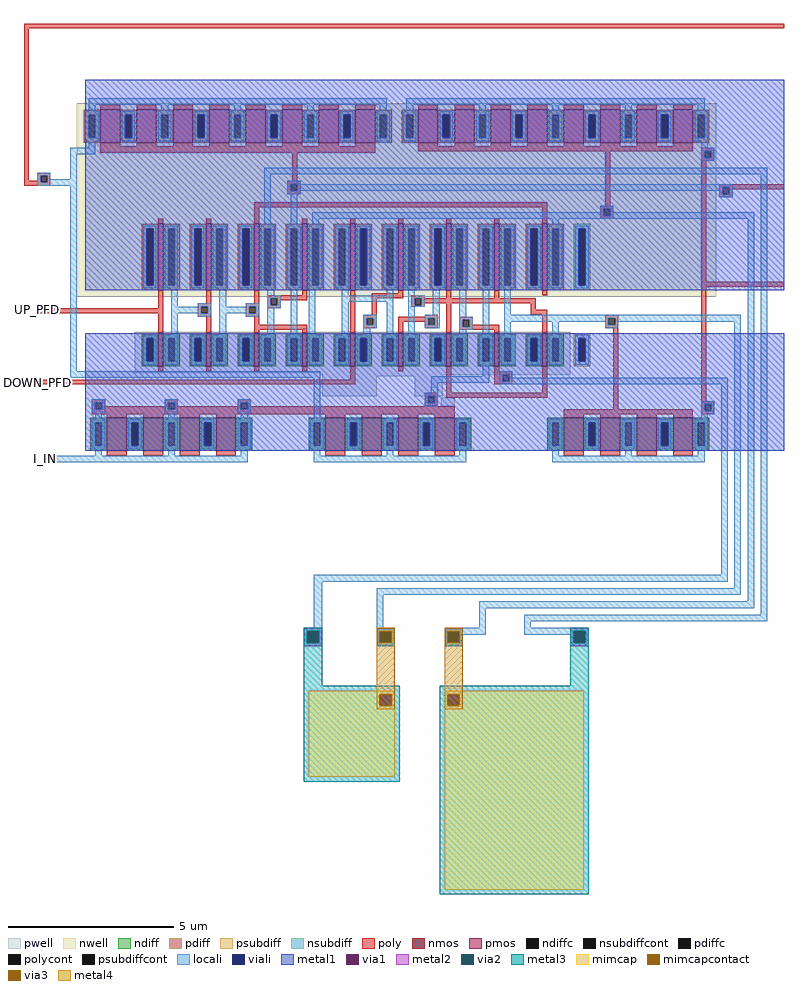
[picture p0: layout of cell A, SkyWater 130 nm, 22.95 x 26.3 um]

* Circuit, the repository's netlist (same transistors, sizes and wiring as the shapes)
* NGSPICE file created from A.ext - technology: sky130A

**.subckt A
X0 VDDA a_380_n8130# x VDDA sky130_fd_pr__pfet_01v8 ad=0.25 pd=1.5 as=0.5 ps=3 w=1 l=0.6
X1 VDDA a_380_n8130# x VDDA sky130_fd_pr__pfet_01v8 ad=0.25 pd=1.5 as=0.25 ps=1.5 w=1 l=0.6
X2 VDDA a_1630_n9420# a_2200_n8070# VDDA sky130_fd_pr__pfet_01v8 ad=0.25 pd=1.5 as=0.25 ps=1.5 w=1 l=0.6
X3 VDDA a_1630_n9420# a_2200_n8070# VDDA sky130_fd_pr__pfet_01v8 ad=0.25 pd=1.5 as=0.25 ps=1.5 w=1 l=0.6
X4 a_1630_n9420# a_1050_n9420# a_380_n8130# GNDA sky130_fd_pr__nfet_01v8 ad=0.5 pd=3 as=0.5 ps=3 w=1 l=0.15
X5 a_1050_n9420# a_760_n9420# GNDA GNDA sky130_fd_pr__nfet_01v8 ad=0.5 pd=3 as=0.5 ps=3 w=1 l=0.15
X6 a_1340_n9420# a_1050_n9420# GNDA GNDA sky130_fd_pr__nfet_01v8 ad=0.5 pd=3 as=0.5 ps=3 w=1 l=0.15
X7 a_1630_n9420# a_1340_n9420# a_380_n8130# VDDA sky130_fd_pr__pfet_01v8 ad=1 pd=5 as=1 ps=5 w=2 l=0.15
X8 GNDA I_IN x GNDA sky130_fd_pr__nfet_01v8 ad=0.25 pd=1.5 as=0.5 ps=3 w=1 l=0.6
X9 x a_380_n8130# VDDA VDDA sky130_fd_pr__pfet_01v8 ad=0.25 pd=1.5 as=0.25 ps=1.5 w=1 l=0.6
X10 a_1340_n9420# a_1050_n9420# VDDA VDDA sky130_fd_pr__pfet_01v8 ad=1 pd=5 as=1 ps=5 w=2 l=0.15
X11 a_2200_n8070# a_1630_n9420# VDDA VDDA sky130_fd_pr__pfet_01v8 ad=0.25 pd=1.5 as=0.25 ps=1.5 w=1 l=0.6
X12 a_1050_n9420# a_760_n9420# VDDA VDDA sky130_fd_pr__pfet_01v8 ad=1 pd=5 as=1 ps=5 w=2 l=0.15
X13 a_760_n9420# UP_PFD GNDA GNDA sky130_fd_pr__nfet_01v8 ad=0.5 pd=3 as=0.5 ps=3 w=1 l=0.15
X14 I_IN I_IN GNDA GNDA sky130_fd_pr__nfet_01v8 ad=0.25 pd=1.5 as=0.25 ps=1.5 w=1 l=0.6
X15 a_2790_n9420# a_2210_n9420# GNDA GNDA sky130_fd_pr__nfet_01v8 ad=0.5 pd=3 as=0.5 ps=3 w=1 l=0.15
X16 x I_IN GNDA GNDA sky130_fd_pr__nfet_01v8 ad=0.5 pd=3 as=0.25 ps=1.5 w=1 l=0.6
X17 a_2200_n8070# a_2790_n9420# GNDA GNDA sky130_fd_pr__nfet_01v8 ad=0.25 pd=1.5 as=0.25 ps=1.5 w=1 l=0.6
X18 a_2200_n8070# a_1630_n9420# VDDA VDDA sky130_fd_pr__pfet_01v8 ad=0.5 pd=3 as=0.25 ps=1.5 w=1 l=0.6
X19 a_760_n9420# UP_PFD VDDA VDDA sky130_fd_pr__pfet_01v8 ad=1 pd=5 as=1 ps=5 w=2 l=0.15
X20 a_1630_n9420# a_1050_n9420# VDDA VDDA sky130_fd_pr__pfet_01v8 ad=1 pd=5 as=1 ps=5 w=2 l=0.15
X21 a_2790_n9420# a_2500_n9420# I_IN GNDA sky130_fd_pr__nfet_01v8 ad=0.5 pd=3 as=0.5 ps=3 w=1 l=0.15
X22 x I_IN GNDA GNDA sky130_fd_pr__nfet_01v8 ad=0.25 pd=1.5 as=0.25 ps=1.5 w=1 l=0.6
X23 VDDA a_380_n8130# x VDDA sky130_fd_pr__pfet_01v8 ad=0.25 pd=1.5 as=0.25 ps=1.5 w=1 l=0.6
X24 VDDA a_380_n8130# x VDDA sky130_fd_pr__pfet_01v8 ad=0.25 pd=1.5 as=0.25 ps=1.5 w=1 l=0.6
X25 VDDA a_1630_n9420# a_2200_n8070# VDDA sky130_fd_pr__pfet_01v8 ad=0.25 pd=1.5 as=0.25 ps=1.5 w=1 l=0.6
X26 a_2500_n9420# a_2210_n9420# GNDA GNDA sky130_fd_pr__nfet_01v8 ad=0.5 pd=3 as=0.5 ps=3 w=1 l=0.15
X27 a_2790_n9420# a_2500_n9420# sky130_fd_pr__cap_mim_m3_1 l=2.6 w=2.6
X28 a_2210_n9420# VDDA a_1790_n9420# GNDA sky130_fd_pr__nfet_01v8 ad=0.5 pd=3 as=0.5 ps=3 w=1 l=0.15
X29 a_2790_n9420# a_2210_n9420# I_IN VDDA sky130_fd_pr__pfet_01v8 ad=1 pd=5 as=1 ps=5 w=2 l=0.15
X30 a_2210_n9420# GNDA a_1790_n9420# VDDA sky130_fd_pr__pfet_01v8 ad=1 pd=5 as=1 ps=5 w=2 l=0.15
X31 a_2500_n9420# a_2210_n9420# VDDA VDDA sky130_fd_pr__pfet_01v8 ad=1 pd=5 as=1 ps=5 w=2 l=0.15
X32 a_1630_n9420# a_1340_n9420# sky130_fd_pr__cap_mim_m3_1 l=6 w=4.2
X33 GNDA I_IN I_IN GNDA sky130_fd_pr__nfet_01v8 ad=0.25 pd=1.5 as=0.25 ps=1.5 w=1 l=0.6
X34 GNDA a_2790_n9420# a_2200_n8070# GNDA sky130_fd_pr__nfet_01v8 ad=0.25 pd=1.5 as=0.5 ps=3 w=1 l=0.6
X35 GNDA a_2790_n9420# a_2200_n8070# GNDA sky130_fd_pr__nfet_01v8 ad=0.25 pd=1.5 as=0.25 ps=1.5 w=1 l=0.6
X36 x a_380_n8130# VDDA VDDA sky130_fd_pr__pfet_01v8 ad=0.25 pd=1.5 as=0.25 ps=1.5 w=1 l=0.6
X37 GNDA DOWN_PFD a_1790_n9420# GNDA sky130_fd_pr__nfet_01v8 ad=0.5 pd=3 as=0.5 ps=3 w=1 l=0.15
X38 GNDA I_IN x GNDA sky130_fd_pr__nfet_01v8 ad=0.25 pd=1.5 as=0.25 ps=1.5 w=1 l=0.6
X39 a_2200_n8070# a_1630_n9420# VDDA VDDA sky130_fd_pr__pfet_01v8 ad=0.25 pd=1.5 as=0.25 ps=1.5 w=1 l=0.6
X40 VDDA DOWN_PFD a_1790_n9420# VDDA sky130_fd_pr__pfet_01v8 ad=1 pd=5 as=1 ps=5 w=2 l=0.15
X41 x a_380_n8130# VDDA VDDA sky130_fd_pr__pfet_01v8 ad=0.25 pd=1.5 as=0.25 ps=1.5 w=1 l=0.6
X42 I_IN I_IN GNDA GNDA sky130_fd_pr__nfet_01v8 ad=0.5 pd=3 as=0.25 ps=1.5 w=1 l=0.6
X43 x a_380_n8130# VDDA VDDA sky130_fd_pr__pfet_01v8 ad=0.5 pd=3 as=0.25 ps=1.5 w=1 l=0.6
X44 VDDA a_1630_n9420# a_2200_n8070# VDDA sky130_fd_pr__pfet_01v8 ad=0.25 pd=1.5 as=0.5 ps=3 w=1 l=0.6
X45 a_2200_n8070# a_1630_n9420# VDDA VDDA sky130_fd_pr__pfet_01v8 ad=0.25 pd=1.5 as=0.25 ps=1.5 w=1 l=0.6
X46 GNDA I_IN I_IN GNDA sky130_fd_pr__nfet_01v8 ad=0.25 pd=1.5 as=0.5 ps=3 w=1 l=0.6
X47 a_2200_n8070# a_2790_n9420# GNDA GNDA sky130_fd_pr__nfet_01v8 ad=0.5 pd=3 as=0.25 ps=1.5 w=1 l=0.6
**.ends

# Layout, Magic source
magic
tech sky130A
<< nwell >>
rect 120 -4500 2050 -3915
<< pwell >>
rect 800 -4600 815 -4595
rect 295 -4730 1610 -4605
rect 860 -4735 1610 -4730
rect 860 -4740 1225 -4735
rect 860 -4800 1025 -4740
rect 1140 -4775 1225 -4740
rect 1140 -4790 1190 -4775
rect 1210 -4790 1225 -4775
rect 1140 -4800 1225 -4790
rect 1170 -4805 1210 -4800
rect 1220 -4830 1260 -4805
<< nmos >>
rect 365 -4710 380 -4610
rect 510 -4710 525 -4610
rect 655 -4710 670 -4610
rect 800 -4710 815 -4610
rect 945 -4710 960 -4610
rect 1090 -4710 1105 -4610
rect 1235 -4710 1250 -4610
rect 1380 -4710 1395 -4610
rect 1525 -4710 1540 -4610
rect 210 -4965 270 -4865
rect 320 -4965 380 -4865
rect 430 -4965 490 -4865
rect 540 -4965 600 -4865
rect 870 -4965 930 -4865
rect 980 -4965 1040 -4865
rect 1090 -4965 1150 -4865
rect 1200 -4965 1260 -4865
rect 1590 -4965 1650 -4865
rect 1700 -4965 1760 -4865
rect 1810 -4965 1870 -4865
rect 1920 -4965 1980 -4865
<< pmos >>
rect 190 -4035 250 -3935
rect 300 -4035 360 -3935
rect 410 -4035 470 -3935
rect 520 -4035 580 -3935
rect 630 -4035 690 -3935
rect 740 -4035 800 -3935
rect 850 -4035 910 -3935
rect 960 -4035 1020 -3935
rect 1150 -4035 1210 -3935
rect 1260 -4035 1320 -3935
rect 1370 -4035 1430 -3935
rect 1480 -4035 1540 -3935
rect 1590 -4035 1650 -3935
rect 1700 -4035 1760 -3935
rect 1810 -4035 1870 -3935
rect 1920 -4035 1980 -3935
rect 365 -4480 380 -4280
rect 510 -4480 525 -4280
rect 655 -4480 670 -4280
rect 800 -4480 815 -4280
rect 945 -4480 960 -4280
rect 1090 -4480 1105 -4280
rect 1235 -4480 1250 -4280
rect 1380 -4480 1395 -4280
rect 1525 -4480 1540 -4280
<< ndiff >>
rect 315 -4625 365 -4610
rect 315 -4695 330 -4625
rect 350 -4695 365 -4625
rect 315 -4710 365 -4695
rect 380 -4625 430 -4610
rect 380 -4695 395 -4625
rect 415 -4695 430 -4625
rect 380 -4710 430 -4695
rect 460 -4625 510 -4610
rect 460 -4695 475 -4625
rect 495 -4695 510 -4625
rect 460 -4710 510 -4695
rect 525 -4625 575 -4610
rect 525 -4695 540 -4625
rect 560 -4695 575 -4625
rect 525 -4710 575 -4695
rect 605 -4625 655 -4610
rect 605 -4695 620 -4625
rect 640 -4695 655 -4625
rect 605 -4710 655 -4695
rect 670 -4625 720 -4610
rect 670 -4695 685 -4625
rect 705 -4695 720 -4625
rect 670 -4710 720 -4695
rect 750 -4625 800 -4610
rect 750 -4695 765 -4625
rect 785 -4695 800 -4625
rect 750 -4710 800 -4695
rect 815 -4625 865 -4610
rect 815 -4695 830 -4625
rect 850 -4695 865 -4625
rect 815 -4710 865 -4695
rect 895 -4625 945 -4610
rect 895 -4695 910 -4625
rect 930 -4695 945 -4625
rect 895 -4710 945 -4695
rect 960 -4625 1010 -4610
rect 960 -4695 975 -4625
rect 995 -4695 1010 -4625
rect 960 -4710 1010 -4695
rect 1040 -4625 1090 -4610
rect 1040 -4695 1055 -4625
rect 1075 -4695 1090 -4625
rect 1040 -4710 1090 -4695
rect 1105 -4625 1155 -4610
rect 1105 -4695 1120 -4625
rect 1140 -4695 1155 -4625
rect 1105 -4710 1155 -4695
rect 1185 -4625 1235 -4610
rect 1185 -4695 1200 -4625
rect 1220 -4695 1235 -4625
rect 1185 -4710 1235 -4695
rect 1250 -4625 1300 -4610
rect 1250 -4695 1265 -4625
rect 1285 -4695 1300 -4625
rect 1250 -4710 1300 -4695
rect 1330 -4625 1380 -4610
rect 1330 -4695 1345 -4625
rect 1365 -4695 1380 -4625
rect 1330 -4710 1380 -4695
rect 1395 -4625 1445 -4610
rect 1395 -4695 1410 -4625
rect 1430 -4695 1445 -4625
rect 1395 -4710 1445 -4695
rect 1475 -4625 1525 -4610
rect 1475 -4695 1490 -4625
rect 1510 -4695 1525 -4625
rect 1475 -4710 1525 -4695
rect 1540 -4625 1590 -4610
rect 1540 -4695 1555 -4625
rect 1575 -4695 1590 -4625
rect 1540 -4710 1590 -4695
rect 160 -4880 210 -4865
rect 160 -4950 175 -4880
rect 195 -4950 210 -4880
rect 160 -4965 210 -4950
rect 270 -4880 320 -4865
rect 270 -4950 285 -4880
rect 305 -4950 320 -4880
rect 270 -4965 320 -4950
rect 380 -4880 430 -4865
rect 380 -4950 395 -4880
rect 415 -4950 430 -4880
rect 380 -4965 430 -4950
rect 490 -4880 540 -4865
rect 490 -4950 505 -4880
rect 525 -4950 540 -4880
rect 490 -4965 540 -4950
rect 600 -4880 650 -4865
rect 600 -4950 615 -4880
rect 635 -4950 650 -4880
rect 600 -4965 650 -4950
rect 820 -4880 870 -4865
rect 820 -4950 835 -4880
rect 855 -4950 870 -4880
rect 820 -4965 870 -4950
rect 930 -4880 980 -4865
rect 930 -4950 945 -4880
rect 965 -4950 980 -4880
rect 930 -4965 980 -4950
rect 1040 -4880 1090 -4865
rect 1040 -4950 1055 -4880
rect 1075 -4950 1090 -4880
rect 1040 -4965 1090 -4950
rect 1150 -4880 1200 -4865
rect 1150 -4950 1165 -4880
rect 1185 -4950 1200 -4880
rect 1150 -4965 1200 -4950
rect 1260 -4880 1310 -4865
rect 1260 -4950 1275 -4880
rect 1295 -4950 1310 -4880
rect 1260 -4965 1310 -4950
rect 1540 -4880 1590 -4865
rect 1540 -4950 1555 -4880
rect 1575 -4950 1590 -4880
rect 1540 -4965 1590 -4950
rect 1650 -4880 1700 -4865
rect 1650 -4950 1665 -4880
rect 1685 -4950 1700 -4880
rect 1650 -4965 1700 -4950
rect 1760 -4880 1810 -4865
rect 1760 -4950 1775 -4880
rect 1795 -4950 1810 -4880
rect 1760 -4965 1810 -4950
rect 1870 -4880 1920 -4865
rect 1870 -4950 1885 -4880
rect 1905 -4950 1920 -4880
rect 1870 -4965 1920 -4950
rect 1980 -4880 2030 -4865
rect 1980 -4950 1995 -4880
rect 2015 -4950 2030 -4880
rect 1980 -4965 2030 -4950
<< pdiff >>
rect 140 -3950 190 -3935
rect 140 -4020 155 -3950
rect 175 -4020 190 -3950
rect 140 -4035 190 -4020
rect 250 -3950 300 -3935
rect 250 -4020 265 -3950
rect 285 -4020 300 -3950
rect 250 -4035 300 -4020
rect 360 -3950 410 -3935
rect 360 -4020 375 -3950
rect 395 -4020 410 -3950
rect 360 -4035 410 -4020
rect 470 -3950 520 -3935
rect 470 -4020 485 -3950
rect 505 -4020 520 -3950
rect 470 -4035 520 -4020
rect 580 -3950 630 -3935
rect 580 -4020 595 -3950
rect 615 -4020 630 -3950
rect 580 -4035 630 -4020
rect 690 -3950 740 -3935
rect 690 -4020 705 -3950
rect 725 -4020 740 -3950
rect 690 -4035 740 -4020
rect 800 -3950 850 -3935
rect 800 -4020 815 -3950
rect 835 -4020 850 -3950
rect 800 -4035 850 -4020
rect 910 -3950 960 -3935
rect 910 -4020 925 -3950
rect 945 -4020 960 -3950
rect 910 -4035 960 -4020
rect 1020 -3950 1070 -3935
rect 1020 -4020 1035 -3950
rect 1055 -4020 1070 -3950
rect 1020 -4035 1070 -4020
rect 1100 -3950 1150 -3935
rect 1100 -4020 1115 -3950
rect 1135 -4020 1150 -3950
rect 1100 -4035 1150 -4020
rect 1210 -3950 1260 -3935
rect 1210 -4020 1225 -3950
rect 1245 -4020 1260 -3950
rect 1210 -4035 1260 -4020
rect 1320 -3950 1370 -3935
rect 1320 -4020 1335 -3950
rect 1355 -4020 1370 -3950
rect 1320 -4035 1370 -4020
rect 1430 -3950 1480 -3935
rect 1430 -4020 1445 -3950
rect 1465 -4020 1480 -3950
rect 1430 -4035 1480 -4020
rect 1540 -3950 1590 -3935
rect 1540 -4020 1555 -3950
rect 1575 -4020 1590 -3950
rect 1540 -4035 1590 -4020
rect 1650 -3950 1700 -3935
rect 1650 -4020 1665 -3950
rect 1685 -4020 1700 -3950
rect 1650 -4035 1700 -4020
rect 1760 -3950 1810 -3935
rect 1760 -4020 1775 -3950
rect 1795 -4020 1810 -3950
rect 1760 -4035 1810 -4020
rect 1870 -3950 1920 -3935
rect 1870 -4020 1885 -3950
rect 1905 -4020 1920 -3950
rect 1870 -4035 1920 -4020
rect 1980 -3950 2030 -3935
rect 1980 -4020 1995 -3950
rect 2015 -4020 2030 -3950
rect 1980 -4035 2030 -4020
rect 315 -4295 365 -4280
rect 315 -4465 330 -4295
rect 350 -4465 365 -4295
rect 315 -4480 365 -4465
rect 380 -4295 430 -4280
rect 380 -4465 395 -4295
rect 415 -4465 430 -4295
rect 380 -4480 430 -4465
rect 460 -4295 510 -4280
rect 460 -4465 475 -4295
rect 495 -4465 510 -4295
rect 460 -4480 510 -4465
rect 525 -4295 575 -4280
rect 525 -4465 540 -4295
rect 560 -4465 575 -4295
rect 525 -4480 575 -4465
rect 605 -4295 655 -4280
rect 605 -4465 620 -4295
rect 640 -4465 655 -4295
rect 605 -4480 655 -4465
rect 670 -4295 720 -4280
rect 670 -4465 685 -4295
rect 705 -4465 720 -4295
rect 670 -4480 720 -4465
rect 750 -4295 800 -4280
rect 750 -4465 765 -4295
rect 785 -4465 800 -4295
rect 750 -4480 800 -4465
rect 815 -4295 865 -4280
rect 815 -4465 830 -4295
rect 850 -4465 865 -4295
rect 815 -4480 865 -4465
rect 895 -4295 945 -4280
rect 895 -4465 910 -4295
rect 930 -4465 945 -4295
rect 895 -4480 945 -4465
rect 960 -4295 1010 -4280
rect 960 -4465 975 -4295
rect 995 -4465 1010 -4295
rect 960 -4480 1010 -4465
rect 1040 -4295 1090 -4280
rect 1040 -4465 1055 -4295
rect 1075 -4465 1090 -4295
rect 1040 -4480 1090 -4465
rect 1105 -4295 1155 -4280
rect 1105 -4465 1120 -4295
rect 1140 -4465 1155 -4295
rect 1105 -4480 1155 -4465
rect 1185 -4295 1235 -4280
rect 1185 -4465 1200 -4295
rect 1220 -4465 1235 -4295
rect 1185 -4480 1235 -4465
rect 1250 -4295 1300 -4280
rect 1250 -4465 1265 -4295
rect 1285 -4465 1300 -4295
rect 1250 -4480 1300 -4465
rect 1330 -4295 1380 -4280
rect 1330 -4465 1345 -4295
rect 1365 -4465 1380 -4295
rect 1330 -4480 1380 -4465
rect 1395 -4295 1445 -4280
rect 1395 -4465 1410 -4295
rect 1430 -4465 1445 -4295
rect 1395 -4480 1445 -4465
rect 1475 -4295 1525 -4280
rect 1475 -4465 1490 -4295
rect 1510 -4465 1525 -4295
rect 1475 -4480 1525 -4465
rect 1540 -4295 1590 -4280
rect 1540 -4465 1555 -4295
rect 1575 -4465 1590 -4295
rect 1540 -4480 1590 -4465
<< ndiffc >>
rect 330 -4695 350 -4625
rect 395 -4695 415 -4625
rect 475 -4695 495 -4625
rect 540 -4695 560 -4625
rect 620 -4695 640 -4625
rect 685 -4695 705 -4625
rect 765 -4695 785 -4625
rect 830 -4695 850 -4625
rect 910 -4695 930 -4625
rect 975 -4695 995 -4625
rect 1055 -4695 1075 -4625
rect 1120 -4695 1140 -4625
rect 1200 -4695 1220 -4625
rect 1265 -4695 1285 -4625
rect 1345 -4695 1365 -4625
rect 1410 -4695 1430 -4625
rect 1490 -4695 1510 -4625
rect 1555 -4695 1575 -4625
rect 175 -4950 195 -4880
rect 285 -4950 305 -4880
rect 395 -4950 415 -4880
rect 505 -4950 525 -4880
rect 615 -4950 635 -4880
rect 835 -4950 855 -4880
rect 945 -4950 965 -4880
rect 1055 -4950 1075 -4880
rect 1165 -4950 1185 -4880
rect 1275 -4950 1295 -4880
rect 1555 -4950 1575 -4880
rect 1665 -4950 1685 -4880
rect 1775 -4950 1795 -4880
rect 1885 -4950 1905 -4880
rect 1995 -4950 2015 -4880
<< pdiffc >>
rect 155 -4020 175 -3950
rect 265 -4020 285 -3950
rect 375 -4020 395 -3950
rect 485 -4020 505 -3950
rect 595 -4020 615 -3950
rect 705 -4020 725 -3950
rect 815 -4020 835 -3950
rect 925 -4020 945 -3950
rect 1035 -4020 1055 -3950
rect 1115 -4020 1135 -3950
rect 1225 -4020 1245 -3950
rect 1335 -4020 1355 -3950
rect 1445 -4020 1465 -3950
rect 1555 -4020 1575 -3950
rect 1665 -4020 1685 -3950
rect 1775 -4020 1795 -3950
rect 1885 -4020 1905 -3950
rect 1995 -4020 2015 -3950
rect 330 -4465 350 -4295
rect 395 -4465 415 -4295
rect 475 -4465 495 -4295
rect 540 -4465 560 -4295
rect 620 -4465 640 -4295
rect 685 -4465 705 -4295
rect 765 -4465 785 -4295
rect 830 -4465 850 -4295
rect 910 -4465 930 -4295
rect 975 -4465 995 -4295
rect 1055 -4465 1075 -4295
rect 1120 -4465 1140 -4295
rect 1200 -4465 1220 -4295
rect 1265 -4465 1285 -4295
rect 1345 -4465 1365 -4295
rect 1410 -4465 1430 -4295
rect 1490 -4465 1510 -4295
rect 1555 -4465 1575 -4295
<< psubdiff >>
rect 1620 -4625 1670 -4610
rect 1620 -4695 1635 -4625
rect 1655 -4695 1670 -4625
rect 1620 -4710 1670 -4695
<< nsubdiff >>
rect 1620 -4295 1670 -4280
rect 1620 -4465 1635 -4295
rect 1655 -4465 1670 -4295
rect 1620 -4480 1670 -4465
<< psubdiffcont >>
rect 1635 -4695 1655 -4625
<< nsubdiffcont >>
rect 1635 -4465 1655 -4295
<< poly >>
rect -40 -3690 2255 -3675
rect -40 -4150 -25 -3690
rect 190 -3935 250 -3920
rect 300 -3935 360 -3920
rect 410 -3935 470 -3920
rect 520 -3935 580 -3920
rect 630 -3935 690 -3920
rect 740 -3935 800 -3920
rect 850 -3935 910 -3920
rect 960 -3935 1020 -3920
rect 1150 -3935 1210 -3920
rect 1260 -3935 1320 -3920
rect 1370 -3935 1430 -3920
rect 1480 -3935 1540 -3920
rect 1590 -3935 1650 -3920
rect 1700 -3935 1760 -3920
rect 1810 -3935 1870 -3920
rect 1920 -3935 1980 -3920
rect 190 -4045 250 -4035
rect 300 -4045 360 -4035
rect 410 -4045 470 -4035
rect 520 -4045 580 -4035
rect 630 -4045 690 -4035
rect 740 -4045 800 -4035
rect 850 -4045 910 -4035
rect 960 -4045 1020 -4035
rect 190 -4065 1020 -4045
rect 1150 -4045 1210 -4035
rect 1260 -4045 1320 -4035
rect 1370 -4045 1430 -4035
rect 1480 -4045 1540 -4035
rect 1590 -4045 1650 -4035
rect 1700 -4045 1760 -4035
rect 1810 -4045 1870 -4035
rect 1920 -4045 1980 -4035
rect 1150 -4060 1980 -4045
rect 2005 -4060 2045 -4050
rect 0 -4135 40 -4125
rect 0 -4150 10 -4135
rect -40 -4155 10 -4150
rect 30 -4155 40 -4135
rect 770 -4150 785 -4065
rect -40 -4165 40 -4155
rect 755 -4160 795 -4150
rect 755 -4180 765 -4160
rect 785 -4180 795 -4160
rect 755 -4190 795 -4180
rect 655 -4230 1540 -4215
rect 1715 -4225 1730 -4060
rect 2005 -4080 2015 -4060
rect 2035 -4080 2045 -4060
rect 2005 -4090 2045 -4080
rect 365 -4280 380 -4265
rect 510 -4280 525 -4265
rect 655 -4280 670 -4230
rect 800 -4280 815 -4265
rect 945 -4280 960 -4265
rect 1090 -4280 1105 -4265
rect 1235 -4280 1250 -4265
rect 1380 -4280 1395 -4265
rect 1525 -4280 1540 -4230
rect 1700 -4235 1740 -4225
rect 1700 -4255 1710 -4235
rect 1730 -4255 1740 -4235
rect 1700 -4265 1740 -4255
rect 2005 -4455 2020 -4090
rect 2060 -4170 2255 -4160
rect 2060 -4190 2070 -4170
rect 2090 -4175 2255 -4170
rect 2090 -4190 2100 -4175
rect 2060 -4200 2100 -4190
rect 2005 -4470 2255 -4455
rect 365 -4535 380 -4480
rect 510 -4520 525 -4480
rect 655 -4520 670 -4480
rect 800 -4495 815 -4480
rect 0 -4550 380 -4535
rect 365 -4610 380 -4550
rect 485 -4530 525 -4520
rect 485 -4550 495 -4530
rect 515 -4550 525 -4530
rect 485 -4560 525 -4550
rect 630 -4530 670 -4520
rect 630 -4550 640 -4530
rect 660 -4550 670 -4530
rect 695 -4505 815 -4495
rect 695 -4525 705 -4505
rect 725 -4510 815 -4505
rect 725 -4525 735 -4510
rect 695 -4535 735 -4525
rect 630 -4560 670 -4550
rect 510 -4610 525 -4560
rect 655 -4585 670 -4560
rect 655 -4600 815 -4585
rect 655 -4610 670 -4600
rect 800 -4610 815 -4600
rect 945 -4610 960 -4480
rect 1090 -4490 1105 -4480
rect 1010 -4505 1105 -4490
rect 1130 -4505 1170 -4495
rect 1235 -4505 1250 -4480
rect 1380 -4505 1395 -4480
rect 1525 -4495 1540 -4480
rect 1010 -4555 1025 -4505
rect 1130 -4525 1140 -4505
rect 1160 -4520 1505 -4505
rect 1160 -4525 1170 -4520
rect 1130 -4530 1170 -4525
rect 985 -4565 1025 -4555
rect 1170 -4560 1210 -4555
rect 985 -4585 995 -4565
rect 1015 -4585 1025 -4565
rect 985 -4595 1025 -4585
rect 1090 -4565 1210 -4560
rect 1090 -4575 1180 -4565
rect 1090 -4610 1105 -4575
rect 1170 -4585 1180 -4575
rect 1200 -4585 1210 -4565
rect 1170 -4595 1210 -4585
rect 1235 -4610 1250 -4520
rect 1490 -4540 1505 -4520
rect 1490 -4555 1540 -4540
rect 1275 -4570 1315 -4560
rect 1275 -4590 1285 -4570
rect 1305 -4585 1315 -4570
rect 1305 -4590 1395 -4585
rect 1275 -4600 1395 -4590
rect 1380 -4610 1395 -4600
rect 1525 -4610 1540 -4555
rect 1715 -4565 1755 -4555
rect 1715 -4585 1725 -4565
rect 1745 -4585 1755 -4565
rect 1715 -4595 1755 -4585
rect 365 -4725 380 -4710
rect 510 -4725 525 -4710
rect 655 -4725 670 -4710
rect 800 -4725 815 -4710
rect 945 -4750 960 -4710
rect 1090 -4725 1105 -4710
rect 0 -4765 960 -4750
rect 1235 -4790 1250 -4710
rect 1380 -4725 1395 -4710
rect 1380 -4735 1435 -4725
rect 1380 -4755 1405 -4735
rect 1425 -4755 1435 -4735
rect 1380 -4765 1435 -4755
rect 1525 -4790 1540 -4710
rect 1170 -4800 1210 -4790
rect 165 -4820 205 -4810
rect 165 -4840 175 -4820
rect 195 -4830 205 -4820
rect 385 -4820 425 -4810
rect 385 -4830 395 -4820
rect 195 -4840 395 -4830
rect 415 -4830 425 -4820
rect 605 -4820 645 -4810
rect 605 -4830 615 -4820
rect 415 -4840 615 -4830
rect 635 -4830 645 -4820
rect 1170 -4820 1180 -4800
rect 1200 -4820 1210 -4800
rect 1235 -4805 1540 -4790
rect 1170 -4830 1210 -4820
rect 635 -4840 1260 -4830
rect 1740 -4840 1755 -4595
rect 2005 -4815 2020 -4470
rect 2005 -4825 2045 -4815
rect 165 -4855 1260 -4840
rect 210 -4865 270 -4855
rect 320 -4865 380 -4855
rect 430 -4865 490 -4855
rect 540 -4865 600 -4855
rect 870 -4865 930 -4855
rect 980 -4865 1040 -4855
rect 1090 -4865 1150 -4855
rect 1200 -4865 1260 -4855
rect 1590 -4855 1980 -4840
rect 2005 -4845 2015 -4825
rect 2035 -4845 2045 -4825
rect 2005 -4855 2045 -4845
rect 1590 -4865 1650 -4855
rect 1700 -4865 1760 -4855
rect 1810 -4865 1870 -4855
rect 1920 -4865 1980 -4855
rect 210 -4980 270 -4965
rect 320 -4980 380 -4965
rect 430 -4980 490 -4965
rect 540 -4980 600 -4965
rect 870 -4980 930 -4965
rect 980 -4980 1040 -4965
rect 1090 -4980 1150 -4965
rect 1200 -4980 1260 -4965
rect 1590 -4980 1650 -4965
rect 1700 -4980 1760 -4965
rect 1810 -4980 1870 -4965
rect 1920 -4980 1980 -4965
<< polycont >>
rect 10 -4155 30 -4135
rect 765 -4180 785 -4160
rect 2015 -4080 2035 -4060
rect 1710 -4255 1730 -4235
rect 2070 -4190 2090 -4170
rect 495 -4550 515 -4530
rect 640 -4550 660 -4530
rect 705 -4525 725 -4505
rect 1140 -4525 1160 -4505
rect 995 -4585 1015 -4565
rect 1180 -4585 1200 -4565
rect 1285 -4590 1305 -4570
rect 1725 -4585 1745 -4565
rect 1405 -4755 1425 -4735
rect 175 -4840 195 -4820
rect 395 -4840 415 -4820
rect 615 -4840 635 -4820
rect 1180 -4820 1200 -4800
rect 2015 -4845 2035 -4825
<< locali >>
rect 155 -3920 1055 -3900
rect 155 -3940 175 -3920
rect 375 -3940 395 -3920
rect 595 -3940 615 -3920
rect 815 -3940 835 -3920
rect 1035 -3940 1055 -3920
rect 1115 -3920 2015 -3900
rect 1115 -3940 1135 -3920
rect 1335 -3940 1355 -3920
rect 1555 -3940 1575 -3920
rect 1775 -3940 1795 -3920
rect 1995 -3940 2015 -3920
rect 145 -3950 185 -3940
rect 145 -4020 155 -3950
rect 175 -4020 185 -3950
rect 145 -4030 185 -4020
rect 255 -3950 295 -3940
rect 255 -4020 265 -3950
rect 285 -4020 295 -3950
rect 255 -4030 295 -4020
rect 365 -3950 405 -3940
rect 365 -4020 375 -3950
rect 395 -4020 405 -3950
rect 365 -4030 405 -4020
rect 475 -3950 515 -3940
rect 475 -4020 485 -3950
rect 505 -4020 515 -3950
rect 475 -4030 515 -4020
rect 585 -3950 625 -3940
rect 585 -4020 595 -3950
rect 615 -4020 625 -3950
rect 585 -4030 625 -4020
rect 695 -3950 735 -3940
rect 695 -4020 705 -3950
rect 725 -4020 735 -3950
rect 695 -4030 735 -4020
rect 805 -3950 845 -3940
rect 805 -4020 815 -3950
rect 835 -4020 845 -3950
rect 805 -4030 845 -4020
rect 915 -3950 955 -3940
rect 915 -4020 925 -3950
rect 945 -4020 955 -3950
rect 915 -4030 955 -4020
rect 1025 -3950 1065 -3940
rect 1025 -4020 1035 -3950
rect 1055 -4020 1065 -3950
rect 1025 -4030 1065 -4020
rect 1105 -3950 1145 -3940
rect 1105 -4020 1115 -3950
rect 1135 -4020 1145 -3950
rect 1105 -4030 1145 -4020
rect 1215 -3950 1255 -3940
rect 1215 -4020 1225 -3950
rect 1245 -4020 1255 -3950
rect 1215 -4030 1255 -4020
rect 1325 -3950 1365 -3940
rect 1325 -4020 1335 -3950
rect 1355 -4020 1365 -3950
rect 1325 -4030 1365 -4020
rect 1435 -3950 1475 -3940
rect 1435 -4020 1445 -3950
rect 1465 -4020 1475 -3950
rect 1435 -4030 1475 -4020
rect 1545 -3950 1585 -3940
rect 1545 -4020 1555 -3950
rect 1575 -4020 1585 -3950
rect 1545 -4030 1585 -4020
rect 1655 -3950 1695 -3940
rect 1655 -4020 1665 -3950
rect 1685 -4020 1695 -3950
rect 1655 -4030 1695 -4020
rect 1765 -3950 1805 -3940
rect 1765 -4020 1775 -3950
rect 1795 -4020 1805 -3950
rect 1765 -4030 1805 -4020
rect 1875 -3950 1915 -3940
rect 1875 -4020 1885 -3950
rect 1905 -4020 1915 -3950
rect 1875 -4030 1915 -4020
rect 1985 -3950 2025 -3940
rect 1985 -4020 1995 -3950
rect 2015 -4020 2025 -3950
rect 1985 -4030 2025 -4020
rect 155 -4050 175 -4030
rect 1035 -4035 1055 -4030
rect 100 -4070 175 -4050
rect 2005 -4050 2025 -4030
rect 2005 -4060 2045 -4050
rect 0 -4135 40 -4125
rect 0 -4155 10 -4135
rect 30 -4145 40 -4135
rect 100 -4145 120 -4070
rect 2005 -4080 2015 -4060
rect 2035 -4080 2045 -4060
rect 2005 -4090 2045 -4080
rect 30 -4155 120 -4145
rect 0 -4165 120 -4155
rect 100 -4725 120 -4165
rect 685 -4130 2205 -4110
rect 685 -4285 705 -4130
rect 755 -4160 795 -4150
rect 755 -4180 765 -4160
rect 785 -4170 2100 -4160
rect 785 -4180 2070 -4170
rect 755 -4190 795 -4180
rect 2060 -4190 2070 -4180
rect 2090 -4190 2100 -4170
rect 765 -4285 785 -4190
rect 2060 -4200 2100 -4190
rect 1700 -4235 1740 -4225
rect 1700 -4245 1710 -4235
rect 830 -4255 1710 -4245
rect 1730 -4245 1740 -4235
rect 1730 -4255 2165 -4245
rect 830 -4265 2165 -4255
rect 830 -4285 850 -4265
rect 1555 -4285 1575 -4265
rect 320 -4295 360 -4285
rect 320 -4465 330 -4295
rect 350 -4465 360 -4295
rect 320 -4475 360 -4465
rect 385 -4295 425 -4285
rect 385 -4465 395 -4295
rect 415 -4465 425 -4295
rect 385 -4475 425 -4465
rect 465 -4295 505 -4285
rect 465 -4465 475 -4295
rect 495 -4465 505 -4295
rect 465 -4475 505 -4465
rect 530 -4295 570 -4285
rect 530 -4465 540 -4295
rect 560 -4465 570 -4295
rect 530 -4475 570 -4465
rect 610 -4295 650 -4285
rect 610 -4465 620 -4295
rect 640 -4465 650 -4295
rect 610 -4475 650 -4465
rect 675 -4295 715 -4285
rect 675 -4465 685 -4295
rect 705 -4465 715 -4295
rect 675 -4475 715 -4465
rect 755 -4295 795 -4285
rect 755 -4465 765 -4295
rect 785 -4465 795 -4295
rect 755 -4475 795 -4465
rect 820 -4295 860 -4285
rect 820 -4465 830 -4295
rect 850 -4465 860 -4295
rect 820 -4475 860 -4465
rect 900 -4295 940 -4285
rect 900 -4465 910 -4295
rect 930 -4465 940 -4295
rect 900 -4475 940 -4465
rect 965 -4295 1005 -4285
rect 965 -4465 975 -4295
rect 995 -4445 1005 -4295
rect 1045 -4295 1085 -4285
rect 995 -4465 1010 -4445
rect 965 -4475 1010 -4465
rect 1045 -4465 1055 -4295
rect 1075 -4465 1085 -4295
rect 1045 -4475 1085 -4465
rect 1110 -4295 1150 -4285
rect 1110 -4465 1120 -4295
rect 1140 -4465 1150 -4295
rect 1110 -4475 1150 -4465
rect 1190 -4295 1230 -4285
rect 1190 -4465 1200 -4295
rect 1220 -4465 1230 -4295
rect 1190 -4475 1230 -4465
rect 1255 -4295 1295 -4285
rect 1255 -4465 1265 -4295
rect 1285 -4465 1295 -4295
rect 1255 -4475 1295 -4465
rect 1335 -4295 1375 -4285
rect 1335 -4465 1345 -4295
rect 1365 -4465 1375 -4295
rect 1335 -4475 1375 -4465
rect 1400 -4295 1440 -4285
rect 1400 -4465 1410 -4295
rect 1430 -4465 1440 -4295
rect 1400 -4475 1440 -4465
rect 1480 -4295 1520 -4285
rect 1480 -4465 1490 -4295
rect 1510 -4465 1520 -4295
rect 1480 -4475 1520 -4465
rect 1545 -4295 1585 -4285
rect 1545 -4465 1555 -4295
rect 1575 -4465 1585 -4295
rect 1545 -4475 1585 -4465
rect 1625 -4295 1665 -4285
rect 1625 -4465 1635 -4295
rect 1655 -4465 1665 -4295
rect 1625 -4475 1665 -4465
rect 405 -4530 425 -4475
rect 485 -4530 525 -4520
rect 405 -4550 495 -4530
rect 515 -4550 525 -4530
rect 405 -4615 425 -4550
rect 485 -4560 525 -4550
rect 550 -4530 570 -4475
rect 695 -4495 715 -4475
rect 695 -4505 735 -4495
rect 630 -4530 670 -4520
rect 550 -4550 640 -4530
rect 660 -4550 670 -4530
rect 550 -4615 570 -4550
rect 630 -4560 670 -4550
rect 695 -4525 705 -4505
rect 725 -4525 735 -4505
rect 695 -4535 735 -4525
rect 695 -4615 715 -4535
rect 765 -4615 785 -4475
rect 820 -4615 840 -4475
rect 920 -4495 940 -4475
rect 1055 -4495 1075 -4475
rect 920 -4515 1075 -4495
rect 920 -4615 940 -4515
rect 985 -4565 1025 -4555
rect 985 -4585 995 -4565
rect 1015 -4585 1025 -4565
rect 985 -4595 1025 -4585
rect 985 -4615 1005 -4595
rect 1055 -4615 1075 -4515
rect 1120 -4495 1140 -4475
rect 1120 -4505 1170 -4495
rect 1120 -4525 1140 -4505
rect 1160 -4525 1170 -4505
rect 1120 -4530 1170 -4525
rect 1120 -4615 1140 -4530
rect 1195 -4555 1215 -4475
rect 1170 -4565 1215 -4555
rect 1170 -4585 1180 -4565
rect 1200 -4585 1215 -4565
rect 1170 -4595 1215 -4585
rect 1275 -4560 1295 -4475
rect 1275 -4570 1315 -4560
rect 1275 -4590 1285 -4570
rect 1305 -4590 1315 -4570
rect 1275 -4600 1315 -4590
rect 1275 -4615 1295 -4600
rect 1345 -4615 1365 -4475
rect 1410 -4555 1430 -4475
rect 1410 -4565 2125 -4555
rect 1410 -4575 1725 -4565
rect 1410 -4615 1430 -4575
rect 1555 -4615 1575 -4575
rect 1715 -4585 1725 -4575
rect 1745 -4575 2125 -4565
rect 1745 -4585 1755 -4575
rect 1715 -4595 1755 -4585
rect 320 -4625 360 -4615
rect 320 -4695 330 -4625
rect 350 -4695 360 -4625
rect 320 -4705 360 -4695
rect 385 -4625 425 -4615
rect 385 -4695 395 -4625
rect 415 -4695 425 -4625
rect 385 -4705 425 -4695
rect 465 -4625 505 -4615
rect 465 -4695 475 -4625
rect 495 -4695 505 -4625
rect 465 -4705 505 -4695
rect 530 -4625 570 -4615
rect 530 -4695 540 -4625
rect 560 -4695 570 -4625
rect 530 -4705 570 -4695
rect 610 -4625 650 -4615
rect 610 -4695 620 -4625
rect 640 -4695 650 -4625
rect 610 -4705 650 -4695
rect 675 -4625 715 -4615
rect 675 -4695 685 -4625
rect 705 -4695 715 -4625
rect 675 -4705 715 -4695
rect 755 -4625 795 -4615
rect 755 -4695 765 -4625
rect 785 -4695 795 -4625
rect 755 -4705 795 -4695
rect 820 -4625 860 -4615
rect 820 -4695 830 -4625
rect 850 -4695 860 -4625
rect 820 -4705 860 -4695
rect 900 -4625 940 -4615
rect 900 -4695 910 -4625
rect 930 -4695 940 -4625
rect 900 -4705 940 -4695
rect 965 -4625 1005 -4615
rect 965 -4695 975 -4625
rect 995 -4695 1005 -4625
rect 965 -4705 1005 -4695
rect 1045 -4625 1085 -4615
rect 1045 -4695 1055 -4625
rect 1075 -4695 1085 -4625
rect 1045 -4705 1085 -4695
rect 1110 -4625 1150 -4615
rect 1110 -4695 1120 -4625
rect 1140 -4695 1150 -4625
rect 1110 -4705 1150 -4695
rect 1190 -4625 1230 -4615
rect 1190 -4695 1200 -4625
rect 1220 -4695 1230 -4625
rect 1190 -4705 1230 -4695
rect 1255 -4625 1295 -4615
rect 1255 -4695 1265 -4625
rect 1285 -4695 1295 -4625
rect 1255 -4705 1295 -4695
rect 1335 -4625 1375 -4615
rect 1335 -4695 1345 -4625
rect 1365 -4695 1375 -4625
rect 1335 -4705 1375 -4695
rect 1400 -4625 1445 -4615
rect 1400 -4695 1410 -4625
rect 1430 -4695 1445 -4625
rect 1400 -4705 1445 -4695
rect 1480 -4625 1520 -4615
rect 1480 -4695 1490 -4625
rect 1510 -4695 1520 -4625
rect 1480 -4705 1520 -4695
rect 1545 -4625 1585 -4615
rect 1545 -4695 1555 -4625
rect 1575 -4695 1585 -4625
rect 1545 -4705 1585 -4695
rect 1625 -4625 1665 -4615
rect 1625 -4695 1635 -4625
rect 1655 -4695 1665 -4625
rect 1625 -4705 1665 -4695
rect 100 -4745 855 -4725
rect 1345 -4740 1365 -4705
rect 165 -4820 205 -4810
rect 165 -4840 175 -4820
rect 195 -4840 205 -4820
rect 165 -4850 205 -4840
rect 385 -4820 425 -4810
rect 385 -4840 395 -4820
rect 415 -4840 425 -4820
rect 385 -4850 425 -4840
rect 605 -4820 645 -4810
rect 605 -4840 615 -4820
rect 635 -4840 645 -4820
rect 605 -4850 645 -4840
rect 175 -4870 195 -4850
rect 395 -4870 415 -4850
rect 615 -4870 635 -4850
rect 835 -4870 855 -4745
rect 1190 -4760 1365 -4740
rect 1395 -4735 1435 -4725
rect 1395 -4755 1405 -4735
rect 1425 -4745 1435 -4735
rect 1425 -4755 2085 -4745
rect 1190 -4790 1210 -4760
rect 1395 -4765 2085 -4755
rect 1170 -4800 1210 -4790
rect 1170 -4820 1180 -4800
rect 1200 -4820 1210 -4800
rect 1170 -4830 1210 -4820
rect 2005 -4825 2045 -4815
rect 2005 -4845 2015 -4825
rect 2035 -4845 2045 -4825
rect 2005 -4855 2045 -4845
rect 1055 -4870 1075 -4865
rect 2005 -4870 2025 -4855
rect 165 -4880 205 -4870
rect 165 -4950 175 -4880
rect 195 -4950 205 -4880
rect 165 -4960 205 -4950
rect 275 -4880 315 -4870
rect 275 -4950 285 -4880
rect 305 -4950 315 -4880
rect 275 -4960 315 -4950
rect 385 -4880 425 -4870
rect 385 -4950 395 -4880
rect 415 -4950 425 -4880
rect 385 -4960 425 -4950
rect 495 -4880 535 -4870
rect 495 -4950 505 -4880
rect 525 -4950 535 -4880
rect 495 -4960 535 -4950
rect 605 -4880 645 -4870
rect 605 -4950 615 -4880
rect 635 -4950 645 -4880
rect 605 -4960 645 -4950
rect 825 -4880 865 -4870
rect 825 -4950 835 -4880
rect 855 -4950 865 -4880
rect 825 -4960 865 -4950
rect 935 -4880 975 -4870
rect 935 -4950 945 -4880
rect 965 -4950 975 -4880
rect 935 -4960 975 -4950
rect 1045 -4880 1085 -4870
rect 1045 -4950 1055 -4880
rect 1075 -4950 1085 -4880
rect 1045 -4960 1085 -4950
rect 1155 -4880 1195 -4870
rect 1155 -4950 1165 -4880
rect 1185 -4950 1195 -4880
rect 1155 -4960 1195 -4950
rect 1265 -4880 1305 -4870
rect 1265 -4950 1275 -4880
rect 1295 -4950 1305 -4880
rect 1265 -4960 1305 -4950
rect 1545 -4880 1585 -4870
rect 1545 -4950 1555 -4880
rect 1575 -4950 1585 -4880
rect 1545 -4960 1585 -4950
rect 1655 -4880 1695 -4870
rect 1655 -4950 1665 -4880
rect 1685 -4950 1695 -4880
rect 1655 -4960 1695 -4950
rect 1765 -4880 1805 -4870
rect 1765 -4950 1775 -4880
rect 1795 -4950 1805 -4880
rect 1765 -4960 1805 -4950
rect 1875 -4880 1915 -4870
rect 1875 -4950 1885 -4880
rect 1905 -4950 1915 -4880
rect 1875 -4960 1915 -4950
rect 1985 -4880 2025 -4870
rect 1985 -4950 1995 -4880
rect 2015 -4950 2025 -4880
rect 1985 -4960 2025 -4950
rect 175 -4980 195 -4960
rect 395 -4980 415 -4960
rect 615 -4980 635 -4960
rect 25 -5000 635 -4980
rect 835 -4980 855 -4960
rect 1055 -4980 1075 -4960
rect 1275 -4980 1295 -4960
rect 835 -5000 1295 -4980
rect 1555 -4980 1575 -4960
rect 1775 -4980 1795 -4960
rect 1995 -4980 2015 -4960
rect 1555 -5000 2015 -4980
rect 2065 -5340 2085 -4765
rect 835 -5360 2085 -5340
rect 835 -5500 860 -5360
rect 2105 -5380 2125 -4575
rect 805 -5510 860 -5500
rect 805 -5545 815 -5510
rect 850 -5545 860 -5510
rect 805 -5555 860 -5545
rect 1025 -5400 2125 -5380
rect 1025 -5500 1045 -5400
rect 2145 -5420 2165 -4265
rect 1335 -5440 2165 -5420
rect 1335 -5500 1355 -5440
rect 2185 -5460 2205 -4130
rect 1025 -5510 1080 -5500
rect 1025 -5545 1035 -5510
rect 1070 -5545 1080 -5510
rect 1025 -5555 1080 -5545
rect 1230 -5510 1355 -5500
rect 1230 -5545 1240 -5510
rect 1275 -5520 1355 -5510
rect 1470 -5480 2205 -5460
rect 1470 -5500 1490 -5480
rect 1470 -5510 1665 -5500
rect 1470 -5520 1620 -5510
rect 1275 -5545 1285 -5520
rect 1230 -5555 1285 -5545
rect 1610 -5545 1620 -5520
rect 1655 -5545 1665 -5510
rect 1610 -5555 1665 -5545
<< viali >>
rect 265 -4020 285 -3950
rect 485 -4020 505 -3950
rect 705 -4020 725 -3950
rect 925 -4020 945 -3950
rect 1225 -4020 1245 -3950
rect 1445 -4020 1465 -3950
rect 1665 -4020 1685 -3950
rect 1885 -4020 1905 -3950
rect 330 -4465 350 -4295
rect 475 -4465 495 -4295
rect 620 -4465 640 -4295
rect 975 -4465 995 -4295
rect 1200 -4465 1220 -4295
rect 1490 -4465 1510 -4295
rect 1635 -4465 1655 -4295
rect 330 -4695 350 -4625
rect 475 -4695 495 -4625
rect 620 -4695 640 -4625
rect 975 -4695 995 -4625
rect 1200 -4695 1220 -4625
rect 1490 -4695 1510 -4625
rect 1635 -4695 1655 -4625
rect 285 -4950 305 -4880
rect 505 -4950 525 -4880
rect 945 -4950 965 -4880
rect 1165 -4950 1185 -4880
rect 1665 -4950 1685 -4880
rect 1885 -4950 1905 -4880
rect 815 -5545 850 -5510
rect 1035 -5545 1070 -5510
rect 1240 -5545 1275 -5510
rect 1620 -5545 1655 -5510
<< metal1 >>
rect 145 -3950 2255 -3845
rect 145 -4020 265 -3950
rect 285 -4020 485 -3950
rect 505 -4020 705 -3950
rect 725 -4020 925 -3950
rect 945 -4020 1225 -3950
rect 1245 -4020 1445 -3950
rect 1465 -4020 1665 -3950
rect 1685 -4020 1885 -3950
rect 1905 -4020 2255 -3950
rect 145 -4295 2255 -4020
rect 145 -4465 330 -4295
rect 350 -4465 475 -4295
rect 495 -4465 620 -4295
rect 640 -4465 975 -4295
rect 995 -4465 1200 -4295
rect 1220 -4465 1490 -4295
rect 1510 -4465 1635 -4295
rect 1655 -4465 2255 -4295
rect 145 -4480 2255 -4465
rect 145 -4625 2255 -4610
rect 145 -4695 330 -4625
rect 350 -4695 475 -4625
rect 495 -4695 620 -4625
rect 640 -4695 975 -4625
rect 995 -4695 1200 -4625
rect 1220 -4695 1490 -4625
rect 1510 -4695 1635 -4625
rect 1655 -4695 2255 -4625
rect 145 -4880 2255 -4695
rect 145 -4950 285 -4880
rect 305 -4950 505 -4880
rect 525 -4950 945 -4880
rect 965 -4950 1165 -4880
rect 1185 -4950 1665 -4880
rect 1685 -4950 1885 -4880
rect 1905 -4950 2255 -4880
rect 145 -4965 2255 -4950
rect 805 -5510 860 -5500
rect 805 -5545 815 -5510
rect 850 -5545 860 -5510
rect 805 -5555 860 -5545
rect 1025 -5510 1080 -5500
rect 1025 -5545 1035 -5510
rect 1070 -5545 1080 -5510
rect 1025 -5555 1080 -5545
rect 1230 -5510 1285 -5500
rect 1230 -5545 1240 -5510
rect 1275 -5545 1285 -5510
rect 1230 -5555 1285 -5545
rect 1610 -5510 1665 -5500
rect 1610 -5545 1620 -5510
rect 1655 -5545 1665 -5510
rect 1610 -5555 1665 -5545
<< via1 >>
rect 815 -5545 850 -5510
rect 1035 -5545 1070 -5510
rect 1240 -5545 1275 -5510
rect 1620 -5545 1655 -5510
<< metal2 >>
rect 805 -5510 860 -5500
rect 805 -5545 815 -5510
rect 850 -5545 860 -5510
rect 805 -5555 860 -5545
rect 1025 -5510 1080 -5500
rect 1025 -5545 1035 -5510
rect 1070 -5545 1080 -5510
rect 1025 -5555 1080 -5545
rect 1230 -5510 1285 -5500
rect 1230 -5545 1240 -5510
rect 1275 -5545 1285 -5510
rect 1230 -5555 1285 -5545
rect 1610 -5510 1665 -5500
rect 1610 -5545 1620 -5510
rect 1655 -5545 1665 -5510
rect 1610 -5555 1665 -5545
<< via2 >>
rect 815 -5545 850 -5510
rect 1035 -5545 1070 -5510
rect 1240 -5545 1275 -5510
rect 1620 -5545 1655 -5510
<< metal3 >>
rect 805 -5510 860 -5500
rect 805 -5545 815 -5510
rect 850 -5545 860 -5510
rect 805 -5675 860 -5545
rect 1025 -5510 1080 -5500
rect 1025 -5545 1035 -5510
rect 1070 -5545 1080 -5510
rect 1025 -5555 1080 -5545
rect 1230 -5510 1285 -5500
rect 1230 -5545 1240 -5510
rect 1275 -5545 1285 -5510
rect 1230 -5555 1285 -5545
rect 1610 -5510 1665 -5500
rect 1610 -5545 1620 -5510
rect 1655 -5545 1665 -5510
rect 1610 -5675 1665 -5545
rect 805 -5965 1095 -5675
rect 1215 -6305 1665 -5675
<< via3 >>
rect 1035 -5545 1070 -5510
rect 1240 -5545 1275 -5510
<< mimcap >>
rect 820 -5700 1080 -5690
rect 820 -5735 1035 -5700
rect 1070 -5735 1080 -5700
rect 820 -5950 1080 -5735
rect 1230 -5700 1650 -5690
rect 1230 -5735 1240 -5700
rect 1275 -5735 1650 -5700
rect 1230 -6290 1650 -5735
<< mimcapcontact >>
rect 1035 -5735 1070 -5700
rect 1240 -5735 1275 -5700
<< metal4 >>
rect 1025 -5510 1080 -5500
rect 1025 -5545 1035 -5510
rect 1070 -5545 1080 -5510
rect 1025 -5700 1080 -5545
rect 1025 -5735 1035 -5700
rect 1070 -5735 1080 -5700
rect 1025 -5745 1080 -5735
rect 1230 -5510 1285 -5500
rect 1230 -5545 1240 -5510
rect 1275 -5545 1285 -5510
rect 1230 -5700 1285 -5545
rect 1230 -5735 1240 -5700
rect 1275 -5735 1285 -5700
rect 1230 -5745 1285 -5735
<< labels >>
flabel poly 0 -4540 0 -4540 7 FreeSans 400 0 -200 0 UP_PFD
flabel poly 0 -4760 0 -4760 7 FreeSans 400 0 -200 0 DOWN_PFD
flabel locali 25 -4990 25 -4990 7 FreeSans 400 0 -200 0 I_IN
<< end >>
